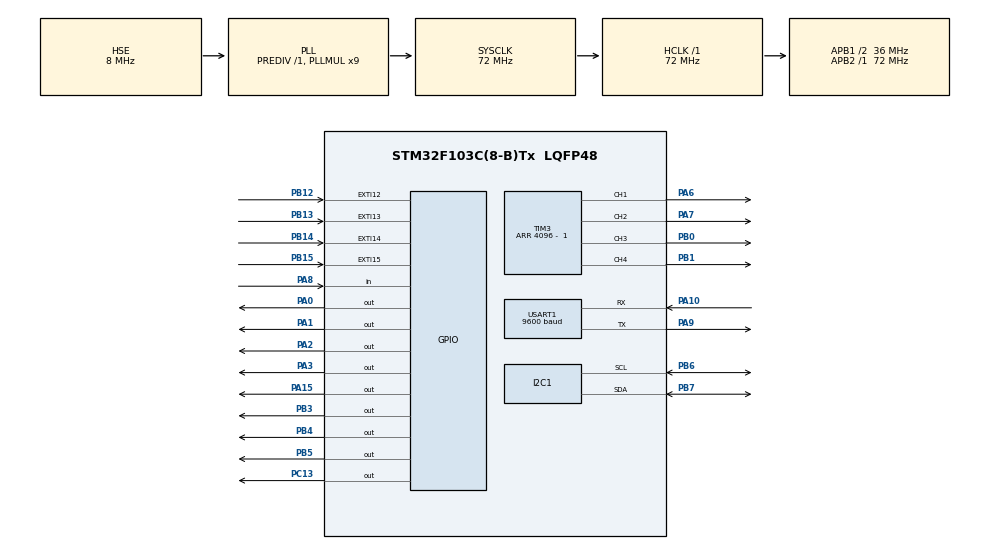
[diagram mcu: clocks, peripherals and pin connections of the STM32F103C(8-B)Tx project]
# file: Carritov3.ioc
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Mcu.Family=STM32F1
Mcu.Name=STM32F103C(8-B)Tx
Mcu.Package=LQFP48
NVIC.EXTI15_10_IRQn=true\:0\:0\:true\:true\:true\:1\:true\:true\:true
NVIC.PriorityGroup=NVIC_PRIORITYGROUP_4
NVIC.TIM2_IRQn=true\:0\:0\:false\:true\:true\:3\:true\:true\:true
NVIC.TIM4_IRQn=true\:0\:0\:false\:true\:true\:2\:true\:true\:true
PA0-WKUP.Signal=GPIO_Output
PA1.Signal=GPIO_Output
PA10.Mode=Asynchronous
PA10.Signal=USART1_RX
PA13.Mode=Serial_Wire
PA13.Signal=SYS_JTMS-SWDIO
PA14.Mode=Serial_Wire
PA14.Signal=SYS_JTCK-SWCLK
PA15.Signal=GPIO_Output
PA2.Signal=GPIO_Output
PA3.Signal=GPIO_Output
PA6.Signal=S_TIM3_CH1
PA7.Signal=S_TIM3_CH2
PA8.GPIO_PuPd=GPIO_PULLDOWN
PA8.Signal=GPIO_Input
PA9.Mode=Asynchronous
PA9.Signal=USART1_TX
PB0.Signal=S_TIM3_CH3
PB1.Signal=S_TIM3_CH4
PB12.GPIO_PuPd=GPIO_PULLDOWN
PB12.Signal=GPXTI12
PB13.GPIO_PuPd=GPIO_PULLDOWN
PB13.Signal=GPXTI13
PB14.GPIO_PuPd=GPIO_PULLDOWN
PB14.Signal=GPXTI14
PB15.GPIO_PuPd=GPIO_PULLDOWN
PB15.Signal=GPXTI15
PB3.Signal=GPIO_Output
PB4.Signal=GPIO_Output
PB5.Signal=GPIO_Output
PB6.Mode=I2C
PB6.Signal=I2C1_SCL
PB7.Mode=I2C
PB7.Signal=I2C1_SDA
PC13-TAMPER-RTC.Signal=GPIO_Output
PC14-OSC32_IN.Mode=LSE-External-Oscillator
PC14-OSC32_IN.Signal=RCC_OSC32_IN
PC15-OSC32_OUT.Mode=LSE-External-Oscillator
PC15-OSC32_OUT.Signal=RCC_OSC32_OUT
PD0-OSC_IN.Mode=HSE-External-Oscillator
PD0-OSC_IN.Signal=RCC_OSC_IN
PD1-OSC_OUT.Mode=HSE-External-Oscillator
PD1-OSC_OUT.Signal=RCC_OSC_OUT
ProjectManager.HeapSize=0x200
ProjectManager.StackSize=0x400
ProjectManager.TargetToolchain=STM32CubeIDE
RCC.AHBFreq_Value=72000000
RCC.APB1CLKDivider=RCC_HCLK_DIV2
RCC.APB1Freq_Value=36000000
RCC.APB1TimFreq_Value=72000000
RCC.APB2Freq_Value=72000000
RCC.APB2TimFreq_Value=72000000
RCC.HCLKFreq_Value=72000000
RCC.PLLMUL=RCC_PLL_MUL9
RCC.PLLSourceVirtual=RCC_PLLSOURCE_HSE
RCC.SYSCLKFreq_VALUE=72000000
RCC.SYSCLKSource=RCC_SYSCLKSOURCE_PLLCLK
RCC.USBFreq_Value=72000000
SH.S_TIM3_CH1.0=TIM3_CH1,PWM Generation1 CH1
SH.S_TIM3_CH2.0=TIM3_CH2,PWM Generation2 CH2
SH.S_TIM3_CH3.0=TIM3_CH3,PWM Generation3 CH3
SH.S_TIM3_CH4.0=TIM3_CH4,PWM Generation4 CH4
TIM2.Period=150 - 1
TIM2.Prescaler=7200 - 1
TIM3.Channel-PWM\ Generation1\ CH1=TIM_CHANNEL_1
TIM3.Channel-PWM\ Generation2\ CH2=TIM_CHANNEL_2
TIM3.Channel-PWM\ Generation3\ CH3=TIM_CHANNEL_3
TIM3.Channel-PWM\ Generation4\ CH4=TIM_CHANNEL_4
TIM3.Period=4096 -  1
TIM4.Period=100-1
TIM4.Prescaler=7200 - 1
USART1.BaudRate=9600
USART1.VirtualMode=VM_ASYNC
VP_TIM1_VS_ClockSourceINT.Mode=Internal
VP_TIM2_VS_ClockSourceINT.Mode=Internal
VP_TIM4_VS_ClockSourceINT.Mode=Internal
board=custom

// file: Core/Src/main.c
/* USER CODE BEGIN Header */
/**
  ******************************************************************************
  * @file           : main.c
  * @brief          : Main program body
  ******************************************************************************
  * @attention
  *
  * Copyright (c) 2023 STMicroelectronics.
  * All rights reserved.
  *
  * This software is licensed under terms that can be found in the LICENSE file
  * in the root directory of this software component.
  * If no LICENSE file comes with this software, it is provided AS-IS.
  *
  ******************************************************************************
  */
/* USER CODE END Header */
#include "main.h"

/* USER CODE BEGIN Includes */
#include "stdio.h"
#include "Directions.h"
#include "PIDpwm.h"
#include "math.h"
/* USER CODE END Includes */

I2C_HandleTypeDef hi2c1;

TIM_HandleTypeDef htim1;
TIM_HandleTypeDef htim2;
TIM_HandleTypeDef htim3;
TIM_HandleTypeDef htim4;

UART_HandleTypeDef huart1;

/* USER CODE BEGIN PV */

uint8_t IMU_ADDRESS = 0b11010000; //0xD0

float accel_x;
float accel_y;
float accel_z;
float gyro_x;
float gyro_y;
float gyro_z;

float GyroMean[50] = {};

float GyroValuesx = 0;
float GyroValuesy = 0;
float GyroValuesz = 0;

float Gyro_X_calibration = 0;
float Gyro_Y_calibration = 0;
float Gyro_Z_calibration = 0;

uint8_t accel_raw_data[6];

float yawangle = 0;
float yawangle_new;
float prev_yaw = 0;
float yaw_reference = -90;
float filteredYaw;

uint8_t state = 0;

volatile uint8_t pulses_rf;
volatile uint8_t pulses_lf;
volatile uint8_t pulses_rb;
volatile uint8_t pulses_lb;
uint8_t pulsesperturn = 20;
uint16_t rpm_rf;
uint16_t  rpm_lf;
uint16_t  rpm_rb;
uint16_t rpm_lb;

uint8_t current_tick_rf;
uint8_t current_tick_lf;
uint8_t current_tick_rb;
uint8_t current_tick_lb;

uint8_t rf_flag;
uint8_t lf_flag;
uint8_t rb_flag;
uint8_t lb_flag;

float pid_output_lf = 0;

PIDpwm_Controller pidMotor_rf,pidMotor_lf,pidMotor_rb,pidMotor_lb;

char Commands[3];

uint32_t TiempoInterrupt1;
uint32_t TiempoInterrupt2 = 0;
uint32_t Intervalo;
uint32_t TiempoInterrupt3;
uint32_t TiempoInterrupt4 = 0;
uint32_t Intervalo2;
uint32_t TiempoInterrupt5;
uint32_t TiempoInterrupt6 = 0;
uint32_t Intervalo3;
uint32_t TiempoInterrupt7;
uint32_t TiempoInterrupt8 = 0;
uint32_t Intervalo4;

uint8_t flag =0;

//Variables Magnetometro
uint8_t array[2]={0x01, 0x1D};
uint8_t array2[6];
int16_t MagX,MagY,MagZ;
float YawMag, angulo2;
float x_center = 2107.8;/* Valor de x_center de MATLAB */;
float y_center = 1137.2/* Valor de y_center de MATLAB */;
float z_center = 407.95/* Valor de z_center de MATLAB */;
float radio_promedio = 153.39167/* Valor del radio promedio calculado en MATLAB */;
float x_norm, y_norm, z_norm;
float distancia;
// Variables para almacenar los máximos y mínimos de la calibración
char datos[20];

/* USER CODE END PV */

void SystemClock_Config(void);
static void MX_GPIO_Init(void);
static void MX_I2C1_Init(void);
static void MX_TIM3_Init(void);
static void MX_USART1_UART_Init(void);
static void MX_TIM4_Init(void);
static void MX_TIM2_Init(void);
static void MX_TIM1_Init(void);
static void MX_NVIC_Init(void);

/* USER CODE BEGIN 0 */
void MPU_init(void){
	uint8_t check, data;

	HAL_I2C_Mem_Read(&hi2c1, IMU_ADDRESS, 0x75, 1, &check, 1, 100);

	if(check == 104){
		data = 0;
		HAL_I2C_Mem_Write(&hi2c1, IMU_ADDRESS, 0x6B, 1, &data, 1, 100);

		data = 0x07;
		HAL_I2C_Mem_Write(&hi2c1, IMU_ADDRESS, 0x19, 1, &data, 1, 100);

		HAL_I2C_Mem_Read(&hi2c1, IMU_ADDRESS, 0x1C, 1, &data, 1, 100);

		uint8_t precission_selector = 0;
		/*
		 * 0 for +- 2
		 * 1 for +- 4
		 * 2 for +- 8
		 * 3 for +- 16
		 */
		data = (data & ~(0b11<<3));
		data = (data | (precission_selector << 3));

		HAL_I2C_Mem_Write(&hi2c1, IMU_ADDRESS, 0x1C, 1, &data, 1, 100);

		HAL_I2C_Mem_Read(&hi2c1, IMU_ADDRESS, 0x1B, 1, &data, 1, 100);

		uint8_t precission_selector_gyro = 0;
		/*
		 * 0 for +- 250
		 * 1 for +- 4
		 * 2 for +- 8
		 * 3 for +- 16
		 */
		data = (data & ~(0b11<<3));
		data = (data | (precission_selector_gyro << 3));

		HAL_I2C_Mem_Write(&hi2c1, IMU_ADDRESS, 0x1B, 1,&data, 1, 100);

	}

}

void MPU_Read_accel(void){

	HAL_I2C_Mem_Read(&hi2c1, IMU_ADDRESS, 0x3B, 1, accel_raw_data, 6, 1000);

	 float g_precission = 2;

	 accel_x = (float)(((int16_t)(accel_raw_data[0] << 8 | accel_raw_data[1])) * g_precission/32768);
	 accel_y = (float)(((int16_t)(accel_raw_data[2] << 8 | accel_raw_data[3])) * g_precission/32768);
	 accel_z = (float)(((int16_t)(accel_raw_data[4] << 8 | accel_raw_data[5])) * g_precission/32768); //g_precission = 2,4,8,16

	 accel_x = accel_x * 9.81;
	 accel_y = accel_y * 9.81;
	 accel_z = accel_z * 9.81;
	}

void MPU_Read_gyro(void){

	uint8_t gyro_raw_data[6];

	HAL_I2C_Mem_Read(&hi2c1, IMU_ADDRESS, 0x43, 1, gyro_raw_data, 6, 1000);

	float gyro_Precission = 250;

	 gyro_x = (float)(((int16_t)(gyro_raw_data[0] << 8 | gyro_raw_data[1])) * gyro_Precission/32768);
	 gyro_y = (float)(((int16_t)(gyro_raw_data[2] << 8 | gyro_raw_data[3])) * gyro_Precission/32768);
	 gyro_z = (float)(((int16_t)(gyro_raw_data[4] << 8 | gyro_raw_data[5])) * gyro_Precission/32768);

	 gyro_x += Gyro_X_calibration;
	 gyro_y += Gyro_Y_calibration;
	 gyro_z += Gyro_Z_calibration;

}

void Gyro_calibration(void){

	uint16_t counter = 0;
	uint32_t StartTime_cal = HAL_GetTick();
	uint32_t ElapsedTime_cal = 0;

	while(ElapsedTime_cal < 9000){

		MPU_Read_gyro();

		GyroValuesx += gyro_x;
		GyroValuesy += gyro_y;
		GyroValuesz += gyro_z;

		counter++;

		uint32_t CurrentTime_cal = HAL_GetTick();
		ElapsedTime_cal = CurrentTime_cal - StartTime_cal;
	}

	Gyro_X_calibration = -1 * GyroValuesx/counter;
	Gyro_Y_calibration = -1 * GyroValuesy/counter;
	Gyro_Z_calibration = -1 * GyroValuesz/counter;

}

void MPU_GetYaw(uint8_t elapsed){

/*
	yawangle_new = prev_yaw + gyro_z * elapsed/1000;

	yawangle = alfa * prev_yaw + (1-alfa) * yawangle_new;

	prev_yaw = yawangle_new;
*/
	uint8_t alfa = 0.99;
	filteredYaw = alfa*(filteredYaw + gyro_z * elapsed/1000) + (1-alfa)*YawMag;
}

void Mag_init(void){

	 HAL_I2C_Mem_Write(&hi2c1, 0x1A, 0x08,1, &array[0], 1, 100);
	 HAL_I2C_Mem_Write(&hi2c1, 0x1A, 0x09,1, &array[1], 1, 100);
}

void Mag_read(void){
	HAL_I2C_Mem_Read(&hi2c1, 0x1A, 0x06,1, array2, 1, 100);
	  if(array2[0]&0x01){
		  HAL_I2C_Mem_Read(&hi2c1, 0x1A, 0x00,1, array2, 6, 100);
		  MagX = array2[1]<<8 | array2[0];
		  MagY = array2[3]<<8 | array2[2];
		  MagY= array2[5]<<8 | array2[4];
	  }
	  float x_cent = (float)MagX - x_center;
	  float y_cent = (float)MagY - y_center;
	  float z_cent = (float)MagZ - z_center;

	  distancia = sqrt(x_cent * x_cent + y_cent * y_cent + z_cent * z_cent);
	  if (distancia != 0) { // Evitar división por cero
		  x_norm = (x_cent / distancia); //* radio_promedio;
		  y_norm = (y_cent / distancia); //* radio_promedio;
		  z_norm = (z_cent / distancia); //* radio_promedio;
	  }
	  distancia = sqrt(x_norm * x_norm + y_norm * y_norm + z_norm * z_norm);
	  YawMag = atan2(y_norm,x_norm)*180/M_PI;
}
/* USER CODE END 0 */

int main(void)
{
  /* USER CODE BEGIN 1 */

char rpmdata[100] = {0};
  /* USER CODE END 1 */

  /* MCU Configuration--------------------------------------------------------*/

  /* Reset of all peripherals, Initializes the Flash interface and the Systick. */
  HAL_Init();

  /* Configure the system clock */
  SystemClock_Config();

  /* Initialize all configured peripherals */
  MX_GPIO_Init();
  MX_I2C1_Init();
  MX_TIM3_Init();
  MX_USART1_UART_Init();
  MX_TIM4_Init();
  MX_TIM2_Init();
  MX_TIM1_Init();

  /* Initialize interrupts */
  MX_NVIC_Init();
  /* USER CODE BEGIN 2 */

  HAL_StatusTypeDef ret = HAL_I2C_IsDeviceReady(&hi2c1, IMU_ADDRESS, 10, 100);
  if(ret == HAL_OK){
	  HAL_GPIO_WritePin(GPIOC, GPIO_PIN_13, 0);
	  char transmission_buffer[17];
	  uint8_t transmission_size = sprintf(transmission_buffer,"Device connected \n");

	  HAL_UART_Transmit(&huart1,&transmission_buffer,transmission_size, 500);
  }
  else{
	  HAL_GPIO_WritePin(GPIOC, GPIO_PIN_13, 1);
  }

  HAL_StatusTypeDef ready = HAL_I2C_IsDeviceReady(&hi2c1, 0x1A, 10, 1000);

  Mag_init();
  MPU_init();

  Gyro_calibration();

 // HAL_TIM_Base_Start_IT(&htim4);
  //HAL_TIM_Base_Start_IT(&htim2);
  HAL_TIM_PWM_Start(&htim3, TIM_CHANNEL_1);
  HAL_TIM_PWM_Start(&htim3, TIM_CHANNEL_2);
  HAL_TIM_PWM_Start(&htim3, TIM_CHANNEL_3);
  HAL_TIM_PWM_Start(&htim3, TIM_CHANNEL_4);

  uint32_t start_time, elapsed_time, current_time;
  uint32_t start_time2,elapsed_time2, current_time2;
  uint32_t Time = HAL_GetTick();
  uint16_t pwm_rf;
  uint16_t pwm_lf;
  uint16_t pwm_rb;
  uint16_t pwm_lb;

 char Dats[50];

 PIDpwm_Init(&pidMotor_lf, 1.83012063f, 7.53971571f, 0.0f, 80.0f, 400.0f);

  /* USER CODE END 2 */

  /* Infinite loop */
  while (1)
  {

    /* USER CODE BEGIN 3 */

	  HAL_UART_Receive(&huart1, &Commands, 3, 100);

	  //MPU_Read_gyro();
	 // MPU_Read_accel();

/*
 *
	  if(elapsed_time > 100){

		 // MPU_GetYaw(elapsed_time);
		 // start_time = HAL_GetTick();
		 // elapsed_time = 0;
	  }
*/
	  //uint32_t CurrentTime = HAL_GetTick();
	  //ElapsedTime = CurrentTime - StartTime;

	  switch(state){

		  case 1:
			  //Forward path
			  pwm_lf = 3200;
			  pwm_lb = 3200;
			  pwm_rb = 3200;
			  pwm_rf = 3200;

			  //Poner en libreria
			  __HAL_TIM_SET_COMPARE(&htim3, TIM_CHANNEL_1, pwm_rf);
			  __HAL_TIM_SET_COMPARE(&htim3, TIM_CHANNEL_2, pwm_lf);
			  __HAL_TIM_SET_COMPARE(&htim3, TIM_CHANNEL_3, pwm_lb);
			  __HAL_TIM_SET_COMPARE(&htim3, TIM_CHANNEL_4, pwm_rb);
			 Forward();
			  break;

		  case 2:
			  //Right turn
			  pwm_lb = 100;
			  pwm_rb = 100;
			  pwm_rf = 100;
			  pwm_lf = 100;
			  //Poner en libreria
			 RightTurn();
			  __HAL_TIM_SET_COMPARE(&htim3, TIM_CHANNEL_1, pwm_rf);
			  __HAL_TIM_SET_COMPARE(&htim3, TIM_CHANNEL_2, pwm_lf);
			  __HAL_TIM_SET_COMPARE(&htim3, TIM_CHANNEL_3, pwm_lb);
			  __HAL_TIM_SET_COMPARE(&htim3, TIM_CHANNEL_4, pwm_rb);

			  break;

		  default:
			  break;
	  }

/*
	  current_time = HAL_GetTick();
	  elapsed_time = current_time - start_time;

	  if(elapsed_time2 > 100){

		  uint32_t millis = HAL_GetTick();
		  //sprintf(rpmdata, "%.u,%.u,%.u,%.u,%.u,%.2f,%.2f,%.2f,%.2f,%.2f,%.2f\n", start_time,pwm_lf,pwm_rf,pwm_lb,pwm_rb,rpm_lf,rpm_rf,rpm_lb,rpm_rb,1.00,yawangle);
		 uint8_t num_chars =  sprintf(rpmdata,"%lu,%.2f,%u,%u,%u,%u,%u,%u,%u,%.2f\n",elapsed_time2 ,pid_output_lf,pwm_rf,pwm_lb,pwm_rb,rpm_lf,rpm_rf,rpm_lb,rpm_rb,yawangle);

		 start_time2 = HAL_GetTick();
		 elapsed_time2 = 0;

		 //char data2[1];
		 //uint8_t num_chars2 =  sprintf(rpmdata, "\n");
		 //uint8_t num_chars =  sprintf(rpmdata, "%.2f , %.2f , %.2f, , %.2f , %.2f", start_time, rpm_rf , rpm_lf, rpm_rb, rpm_lb);

		  HAL_UART_Transmit(&huart1, &rpmdata, num_chars, 100);
		  //HAL_UART_Transmit(&huart1, &data2, num_chars2, 100);
	  }

		  if(state == 0){
			  if(Commands[0] == 'S'){
				  start_time = HAL_GetTick();
				  elapsed_time = 0;
				  start_time2 = HAL_GetTick();
				  elapsed_time2 = 0;
				  state++;
			  }
		  }
		  else if(state == 1){
			  if(elapsed_time > 5000){
				  start_time = HAL_GetTick();
				  elapsed_time = 0;
				  start_time2 = HAL_GetTick();
				  elapsed_time2 = 0;
				  state++;
			  }
		  }
		  else if(state == 2){
			  if(yawangle <= yaw_reference){
				  yaw_reference += -90 + (-yawangle + yaw_reference);
				  	//yaw_reference += -90;
					Stop();
					Gyro_calibration();
					start_time = HAL_GetTick();
					elapsed_time = 0;
				  	state = 1;
			  }
		  }

		  if(Commands[0] == 'E'){
			  state = 0;

			  pwm_rf = 0;
			  pwm_lf = 0;
			  pwm_rb = 0;
			  pwm_lb = 0;
			  Stop();
		  }

		  current_time2 = HAL_GetTick();
		  elapsed_time2 = current_time2 - start_time2;

  }
  */
	  if(state == 0){
		  if(Commands[0] == 'S'){
			  start_time = HAL_GetTick();
			  elapsed_time = 0;
			  start_time2 = HAL_GetTick();
			  elapsed_time2 = 0;
			  state++;
		  }
	  }
	  else if(state == 1){
		  if(elapsed_time > 5000){
			  start_time = HAL_GetTick();
			  elapsed_time = 0;
			  start_time2 = HAL_GetTick();
			  elapsed_time2 = 0;
			  state++;
		  }
	  }
	  else if(state == 2){
		  if(yawangle <= yaw_reference){
			  yaw_reference += -90 + (-yawangle + yaw_reference);
			  	//yaw_reference += -90;
				Stop();
				Gyro_calibration();
				start_time = HAL_GetTick();
				elapsed_time = 0;
			  	state = 1;
		  }
	  }

	  if(Commands[0] == 'E'){
		  state = 0;

		  pwm_rf = 0;
		  pwm_lf = 0;
		  pwm_rb = 0;
		  pwm_lb = 0;
		  Stop();
	  }

	  if(flag == 1){
		  TiempoInterrupt1 = HAL_GetTick();
		  Intervalo = TiempoInterrupt1 - TiempoInterrupt2;
		  TiempoInterrupt2 = TiempoInterrupt1;
		  flag = 0;
	  }

	  if(Intervalo > 9){
		  //rpm_rf = 1000 * 60 / (20*Intervalo);
		 // rpm_lf = 1000 * 60 / (20*Intervalo);
		  //rpm_rb = 1000 * 60 / (20*Intervalo);
		  //rpm_lb = 1000 * 60 / (20*Intervalo);

	  }

	  rpm_lf = 1000 * 60 / (20*Intervalo);
	  uint16_t Datas = sprintf(Dats,"%u,%lu\n",Intervalo, pulses_lf);

	  HAL_UART_Transmit(&huart1, &Dats, Datas, 10);

  }

  /* USER CODE END 3 */
}

void SystemClock_Config(void)
{
  RCC_OscInitTypeDef RCC_OscInitStruct = {0};
  RCC_ClkInitTypeDef RCC_ClkInitStruct = {0};

  /** Initializes the RCC Oscillators according to the specified parameters
  * in the RCC_OscInitTypeDef structure.
  */
  RCC_OscInitStruct.OscillatorType = RCC_OSCILLATORTYPE_HSE;
  RCC_OscInitStruct.HSEState = RCC_HSE_ON;
  RCC_OscInitStruct.HSEPredivValue = RCC_HSE_PREDIV_DIV1;
  RCC_OscInitStruct.HSIState = RCC_HSI_ON;
  RCC_OscInitStruct.PLL.PLLState = RCC_PLL_ON;
  RCC_OscInitStruct.PLL.PLLSource = RCC_PLLSOURCE_HSE;
  RCC_OscInitStruct.PLL.PLLMUL = RCC_PLL_MUL9;
  if (HAL_RCC_OscConfig(&RCC_OscInitStruct) != HAL_OK)
  {
    Error_Handler();
  }

  /** Initializes the CPU, AHB and APB buses clocks
  */
  RCC_ClkInitStruct.ClockType = RCC_CLOCKTYPE_HCLK|RCC_CLOCKTYPE_SYSCLK
                              |RCC_CLOCKTYPE_PCLK1|RCC_CLOCKTYPE_PCLK2;
  RCC_ClkInitStruct.SYSCLKSource = RCC_SYSCLKSOURCE_PLLCLK;
  RCC_ClkInitStruct.AHBCLKDivider = RCC_SYSCLK_DIV1;
  RCC_ClkInitStruct.APB1CLKDivider = RCC_HCLK_DIV2;
  RCC_ClkInitStruct.APB2CLKDivider = RCC_HCLK_DIV1;

  if (HAL_RCC_ClockConfig(&RCC_ClkInitStruct, FLASH_LATENCY_2) != HAL_OK)
  {
    Error_Handler();
  }
}

/**
  * @brief NVIC Configuration.
  * @retval None
  */
static void MX_NVIC_Init(void)
{
  /* EXTI15_10_IRQn interrupt configuration */
  HAL_NVIC_SetPriority(EXTI15_10_IRQn, 0, 0);
  HAL_NVIC_EnableIRQ(EXTI15_10_IRQn);
  /* TIM4_IRQn interrupt configuration */
  HAL_NVIC_SetPriority(TIM4_IRQn, 0, 0);
  HAL_NVIC_EnableIRQ(TIM4_IRQn);
  /* TIM2_IRQn interrupt configuration */
  HAL_NVIC_SetPriority(TIM2_IRQn, 0, 0);
  HAL_NVIC_EnableIRQ(TIM2_IRQn);
}

static void MX_I2C1_Init(void)
{

  hi2c1.Instance = I2C1;
  hi2c1.Init.ClockSpeed = 100000;
  hi2c1.Init.DutyCycle = I2C_DUTYCYCLE_2;
  hi2c1.Init.OwnAddress1 = 0;
  hi2c1.Init.AddressingMode = I2C_ADDRESSINGMODE_7BIT;
  hi2c1.Init.DualAddressMode = I2C_DUALADDRESS_DISABLE;
  hi2c1.Init.OwnAddress2 = 0;
  hi2c1.Init.GeneralCallMode = I2C_GENERALCALL_DISABLE;
  hi2c1.Init.NoStretchMode = I2C_NOSTRETCH_DISABLE;
  if (HAL_I2C_Init(&hi2c1) != HAL_OK)
  {
    Error_Handler();
  }

}

static void MX_TIM1_Init(void)
{

  TIM_ClockConfigTypeDef sClockSourceConfig = {0};
  TIM_MasterConfigTypeDef sMasterConfig = {0};

  htim1.Instance = TIM1;
  htim1.Init.Prescaler = 0;
  htim1.Init.CounterMode = TIM_COUNTERMODE_UP;
  htim1.Init.Period = 65535;
  htim1.Init.ClockDivision = TIM_CLOCKDIVISION_DIV1;
  htim1.Init.RepetitionCounter = 0;
  htim1.Init.AutoReloadPreload = TIM_AUTORELOAD_PRELOAD_DISABLE;
  if (HAL_TIM_Base_Init(&htim1) != HAL_OK)
  {
    Error_Handler();
  }
  sClockSourceConfig.ClockSource = TIM_CLOCKSOURCE_INTERNAL;
  if (HAL_TIM_ConfigClockSource(&htim1, &sClockSourceConfig) != HAL_OK)
  {
    Error_Handler();
  }
  sMasterConfig.MasterOutputTrigger = TIM_TRGO_RESET;
  sMasterConfig.MasterSlaveMode = TIM_MASTERSLAVEMODE_DISABLE;
  if (HAL_TIMEx_MasterConfigSynchronization(&htim1, &sMasterConfig) != HAL_OK)
  {
    Error_Handler();
  }

}

static void MX_TIM2_Init(void)
{

  TIM_ClockConfigTypeDef sClockSourceConfig = {0};
  TIM_MasterConfigTypeDef sMasterConfig = {0};

  htim2.Instance = TIM2;
  htim2.Init.Prescaler = 7200 - 1;
  htim2.Init.CounterMode = TIM_COUNTERMODE_UP;
  htim2.Init.Period = 150 - 1;
  htim2.Init.ClockDivision = TIM_CLOCKDIVISION_DIV1;
  htim2.Init.AutoReloadPreload = TIM_AUTORELOAD_PRELOAD_DISABLE;
  if (HAL_TIM_Base_Init(&htim2) != HAL_OK)
  {
    Error_Handler();
  }
  sClockSourceConfig.ClockSource = TIM_CLOCKSOURCE_INTERNAL;
  if (HAL_TIM_ConfigClockSource(&htim2, &sClockSourceConfig) != HAL_OK)
  {
    Error_Handler();
  }
  sMasterConfig.MasterOutputTrigger = TIM_TRGO_RESET;
  sMasterConfig.MasterSlaveMode = TIM_MASTERSLAVEMODE_DISABLE;
  if (HAL_TIMEx_MasterConfigSynchronization(&htim2, &sMasterConfig) != HAL_OK)
  {
    Error_Handler();
  }

}

static void MX_TIM3_Init(void)
{

  TIM_MasterConfigTypeDef sMasterConfig = {0};
  TIM_OC_InitTypeDef sConfigOC = {0};

  htim3.Instance = TIM3;
  htim3.Init.Prescaler = 0;
  htim3.Init.CounterMode = TIM_COUNTERMODE_UP;
  htim3.Init.Period = 4096 - 1;
  htim3.Init.ClockDivision = TIM_CLOCKDIVISION_DIV1;
  htim3.Init.AutoReloadPreload = TIM_AUTORELOAD_PRELOAD_DISABLE;
  if (HAL_TIM_PWM_Init(&htim3) != HAL_OK)
  {
    Error_Handler();
  }
  sMasterConfig.MasterOutputTrigger = TIM_TRGO_RESET;
  sMasterConfig.MasterSlaveMode = TIM_MASTERSLAVEMODE_DISABLE;
  if (HAL_TIMEx_MasterConfigSynchronization(&htim3, &sMasterConfig) != HAL_OK)
  {
    Error_Handler();
  }
  sConfigOC.OCMode = TIM_OCMODE_PWM1;
  sConfigOC.Pulse = 0;
  sConfigOC.OCPolarity = TIM_OCPOLARITY_HIGH;
  sConfigOC.OCFastMode = TIM_OCFAST_DISABLE;
  if (HAL_TIM_PWM_ConfigChannel(&htim3, &sConfigOC, TIM_CHANNEL_1) != HAL_OK)
  {
    Error_Handler();
  }
  if (HAL_TIM_PWM_ConfigChannel(&htim3, &sConfigOC, TIM_CHANNEL_2) != HAL_OK)
  {
    Error_Handler();
  }
  if (HAL_TIM_PWM_ConfigChannel(&htim3, &sConfigOC, TIM_CHANNEL_3) != HAL_OK)
  {
    Error_Handler();
  }
  if (HAL_TIM_PWM_ConfigChannel(&htim3, &sConfigOC, TIM_CHANNEL_4) != HAL_OK)
  {
    Error_Handler();
  }
  HAL_TIM_MspPostInit(&htim3);

}

static void MX_TIM4_Init(void)
{

  TIM_ClockConfigTypeDef sClockSourceConfig = {0};
  TIM_MasterConfigTypeDef sMasterConfig = {0};

  htim4.Instance = TIM4;
  htim4.Init.Prescaler = 7200 - 1;
  htim4.Init.CounterMode = TIM_COUNTERMODE_UP;
  htim4.Init.Period = 100-1;
  htim4.Init.ClockDivision = TIM_CLOCKDIVISION_DIV1;
  htim4.Init.AutoReloadPreload = TIM_AUTORELOAD_PRELOAD_DISABLE;
  if (HAL_TIM_Base_Init(&htim4) != HAL_OK)
  {
    Error_Handler();
  }
  sClockSourceConfig.ClockSource = TIM_CLOCKSOURCE_INTERNAL;
  if (HAL_TIM_ConfigClockSource(&htim4, &sClockSourceConfig) != HAL_OK)
  {
    Error_Handler();
  }
  sMasterConfig.MasterOutputTrigger = TIM_TRGO_RESET;
  sMasterConfig.MasterSlaveMode = TIM_MASTERSLAVEMODE_DISABLE;
  if (HAL_TIMEx_MasterConfigSynchronization(&htim4, &sMasterConfig) != HAL_OK)
  {
    Error_Handler();
  }

}

static void MX_USART1_UART_Init(void)
{

  huart1.Instance = USART1;
  huart1.Init.BaudRate = 9600;
  huart1.Init.WordLength = UART_WORDLENGTH_8B;
  huart1.Init.StopBits = UART_STOPBITS_1;
  huart1.Init.Parity = UART_PARITY_NONE;
  huart1.Init.Mode = UART_MODE_TX_RX;
  huart1.Init.HwFlowCtl = UART_HWCONTROL_NONE;
  huart1.Init.OverSampling = UART_OVERSAMPLING_16;
  if (HAL_UART_Init(&huart1) != HAL_OK)
  {
    Error_Handler();
  }

}

static void MX_GPIO_Init(void)
{
  GPIO_InitTypeDef GPIO_InitStruct = {0};

  /* GPIO Ports Clock Enable */
  __HAL_RCC_GPIOC_CLK_ENABLE();
  __HAL_RCC_GPIOD_CLK_ENABLE();
  __HAL_RCC_GPIOA_CLK_ENABLE();
  __HAL_RCC_GPIOB_CLK_ENABLE();

  /*Configure GPIO pin Output Level */
  HAL_GPIO_WritePin(GPIOC, GPIO_PIN_13, GPIO_PIN_RESET);

  /*Configure GPIO pin Output Level */
  HAL_GPIO_WritePin(GPIOA, GPIO_PIN_0|GPIO_PIN_1|GPIO_PIN_2|GPIO_PIN_3
                          |GPIO_PIN_15, GPIO_PIN_RESET);

  /*Configure GPIO pin Output Level */
  HAL_GPIO_WritePin(GPIOB, GPIO_PIN_3|GPIO_PIN_4|GPIO_PIN_5, GPIO_PIN_RESET);

  /*Configure GPIO pin : PC13 */
  GPIO_InitStruct.Pin = GPIO_PIN_13;
  GPIO_InitStruct.Mode = GPIO_MODE_OUTPUT_PP;
  GPIO_InitStruct.Pull = GPIO_NOPULL;
  GPIO_InitStruct.Speed = GPIO_SPEED_FREQ_LOW;
  HAL_GPIO_Init(GPIOC, &GPIO_InitStruct);

  /*Configure GPIO pins : PA0 PA1 PA2 PA3
                           PA15 */
  GPIO_InitStruct.Pin = GPIO_PIN_0|GPIO_PIN_1|GPIO_PIN_2|GPIO_PIN_3
                          |GPIO_PIN_15;
  GPIO_InitStruct.Mode = GPIO_MODE_OUTPUT_PP;
  GPIO_InitStruct.Pull = GPIO_NOPULL;
  GPIO_InitStruct.Speed = GPIO_SPEED_FREQ_LOW;
  HAL_GPIO_Init(GPIOA, &GPIO_InitStruct);

  /*Configure GPIO pins : PB12 PB13 PB14 PB15 */
  GPIO_InitStruct.Pin = GPIO_PIN_12|GPIO_PIN_13|GPIO_PIN_14|GPIO_PIN_15;
  GPIO_InitStruct.Mode = GPIO_MODE_IT_RISING;
  GPIO_InitStruct.Pull = GPIO_PULLDOWN;
  HAL_GPIO_Init(GPIOB, &GPIO_InitStruct);

  /*Configure GPIO pin : PA8 */
  GPIO_InitStruct.Pin = GPIO_PIN_8;
  GPIO_InitStruct.Mode = GPIO_MODE_INPUT;
  GPIO_InitStruct.Pull = GPIO_PULLDOWN;
  HAL_GPIO_Init(GPIOA, &GPIO_InitStruct);

  /*Configure GPIO pins : PB3 PB4 PB5 */
  GPIO_InitStruct.Pin = GPIO_PIN_3|GPIO_PIN_4|GPIO_PIN_5;
  GPIO_InitStruct.Mode = GPIO_MODE_OUTPUT_PP;
  GPIO_InitStruct.Pull = GPIO_NOPULL;
  GPIO_InitStruct.Speed = GPIO_SPEED_FREQ_LOW;
  HAL_GPIO_Init(GPIOB, &GPIO_InitStruct);

}

/* USER CODE BEGIN 4 */

void HAL_TIM_PeriodElapsedCallback(TIM_HandleTypeDef *htim){

	if(htim -> Instance  == TIM2){

/*
		if(Intervalo > 12){
			rpm_lf = (1/20) * 1000 * 60 / Intervalo;
		}
		if(Intervalo > 12){
			rpm_rf = (1/20) * 1000 * 60 / Intervalo;
		}
		if(Intervalo > 12){
			rpm_lb = (1/20) * 1000 * 60 / Intervalo;
		}
		if(Inervalo > 12){
			rpm_rb = (1/20) * 1000 * 60 / Intervalo;
		}

		pid_output_lf = PIDpwm_Compute(&pidMotor_lf, rpm_lf);
		pid_output_rf = PIDpwm_Compute(&pidMotor_rf, rpm_rf);
		pid_output_lb = PIDpwm_Compute(&pidMotor_lb, rpm_lb);
		pid_output_rb = PIDpwm_Compute(&pidMotor_rb, rpm_rb);
/*

		rpm_rf =  (current_tick_rf * 1000 * 60) / (20 * 10);
	    rpm_lf =  (current_tick_lf * 1000 * 60) / (16 * 10);
	    rpm_rb =  (current_tick_rb * 1000 * 60) / (20 * 10);
	    rpm_lb =  (current_tick_lb * 1000 * 60) / (20 * 10);

		  current_tick_rf = 0;
		  current_tick_lf = 0;
		  current_tick_rb = 0;
		  current_tick_lb = 0;
		  */

	}

	if(htim -> Instance == TIM4){

		MPU_GetYaw(10);
		MPU_Read_gyro();
	}

}
void HAL_GPIO_EXTI_Callback(uint16_t GPIO_Pin)
{
  /* Prevent unused argument(s) compilation warning */
  if(GPIO_Pin == GPIO_PIN_14){
	  //Right front wheel

	  flag = 1;
	  pulses_lf++;
	  current_tick_rf++;
	  TiempoInterrupt1 = HAL_GetTick();
	  Intervalo = TiempoInterrupt1 - TiempoInterrupt2;
	  TiempoInterrupt2 = TiempoInterrupt1;

  }
  if(GPIO_Pin == GPIO_PIN_15){
	  //Left front wheel

	  pulses_lf++;
	  current_tick_rf++;
	  TiempoInterrupt3 = HAL_GetTick();
	 // Intervalo2 = TiempoInterrupt3 - TiempoInterrupt4;
	  Intervalo2 = 11;
	  TiempoInterrupt4 = TiempoInterrupt3;

  }
  if(GPIO_Pin == GPIO_PIN_13){
	  //Right back wheel
	  pulses_rb++;
	  current_tick_rb++;
	  TiempoInterrupt5 = HAL_GetTick();
	  //Intervalo3 = TiempoInterrupt5 - TiempoInterrupt6;
	  Intervalo3 = 12;
	  TiempoInterrupt6 = TiempoInterrupt5;

  }
  if(GPIO_Pin == GPIO_PIN_12){
	  //Left back wheel
	  pulses_lb++;
	  current_tick_lb++;
	  TiempoInterrupt7 = HAL_GetTick();
	  //Intervalo4 = TiempoInterrupt7 - TiempoInterrupt8;
	  Intervalo4 = 13;
	  TiempoInterrupt8 = TiempoInterrupt7;

  }
  /* NOTE: This function Should not be modified, when the callback is needed,
           the HAL_GPIO_EXTI_Callback could be implemented in the user file
   */
}

/* USER CODE END 4 */

void Error_Handler(void)
{
  __disable_irq();
  while (1)
  {
  }
}
